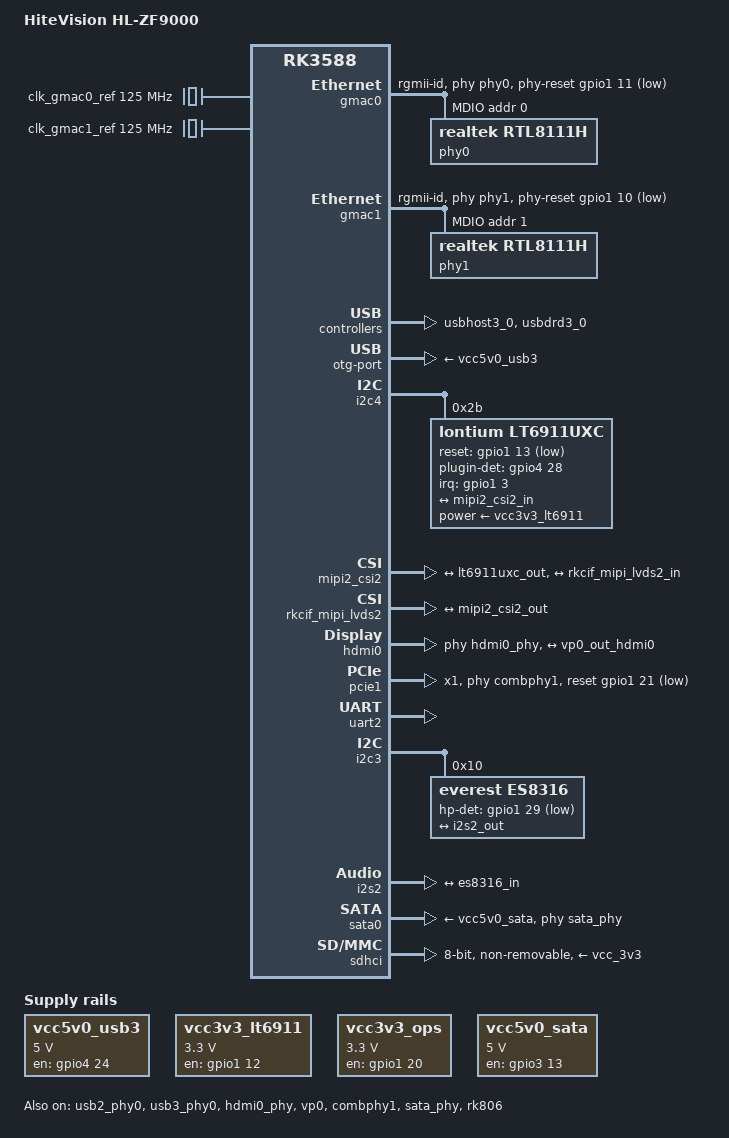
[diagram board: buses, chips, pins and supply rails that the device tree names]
/dts-v1/;
#include "rk3588.dtsi"
#include <dt-bindings/gpio/gpio.h>
#include <dt-bindings/clock/rk3588-cru.h>
#include <dt-bindings/power/rk3588-power.h>

/ {
	model = "HiteVision HL-ZF9000";
	compatible = "hitevision,hl-zf9000", "rockchip,rk3588";
	interrupt-parent = <&gic>;
	#address-cells = <2>;
	#size-cells = <2>;

	aliases {
		gpio0 = &gpio0;
		gpio1 = &gpio1;
		gpio2 = &gpio2;
		gpio3 = &gpio3;
		gpio4 = &gpio4;
		ethernet0 = &gmac0;
		ethernet1 = &gmac1;
		serial0 = &uart2;
		hdmi-in = &lt6911uxc;
		hdmi-out = &hdmi0;
	};

	chosen {
		stdout-path = "serial2:115200n8";
	};

	clocks {
		clk_gmac0_ref: clk-gmac0-ref {
			compatible = "fixed-clock";
			clock-frequency = <125000000>;
			clock-output-names = "clk_gmac0_ref";
		};
		clk_gmac1_ref: clk-gmac1-ref {
			compatible = "fixed-clock";
			clock-frequency = <125000000>;
			clock-output-names = "clk_gmac1_ref";
		};
	};

	regulators {
		vcc5v0_usb3: vcc5v0-usb3-regulator {
			compatible = "regulator-fixed";
			regulator-name = "vcc5v0_usb3";
			regulator-min-microvolt = <5000000>;
			regulator-max-microvolt = <5000000>;
			gpio = <&gpio4 24 0>; /* gpio-152 */
			enable-active-high;
		};

		vcc3v3_lt6911: vcc3v3-lt6911-regulator {
			compatible = "regulator-fixed";
			regulator-name = "vcc3v3_lt6911";
			regulator-min-microvolt = <3300000>;
			regulator-max-microvolt = <3300000>;
			gpio = <&gpio1 12 0>; /* gpio-44 */
			enable-active-high;
		};

		vcc3v3_ops: vcc3v3-ops-regulator {
			compatible = "regulator-fixed";
			regulator-name = "vcc3v3_ops";
			regulator-min-microvolt = <3300000>;
			regulator-max-microvolt = <3300000>;
			gpio = <&gpio1 20 0>; /* gpio-52 */
			enable-active-high;
		};

		vcc5v0_sata: vcc5v0-sata-regulator {
			compatible = "regulator-fixed";
			regulator-name = "vcc5v0_sata";
			regulator-min-microvolt = <5000000>;
			regulator-max-microvolt = <5000000>;
			gpio = <&gpio3 13 0>; /* gpio-109 */
			enable-active-high;
		};
	};

	sound {
		compatible = "simple-audio-card";
		simple-audio-card,name = "es8316-audio";
		simple-audio-card,format = "i2s";
		simple-audio-card,bitclock-master = <&codec_dai>;
		simple-audio-card,frame-master = <&codec_dai>;

		simple-audio-card,cpu {
			sound-dai = <&i2s2>;
		};

		codec_dai: simple-audio-card,codec {
			sound-dai = <&es8316>;
		};
	};
};

&gmac0 {
	status = "okay";
	compatible = "rockchip,rk3588-gmac", "snps,dwmac-4.20a";
	reg = <0x0 0xfe1b0000 0x0 0x10000>;
	interrupts = <GIC_SPI 233 IRQ_TYPE_LEVEL_HIGH>,
		     <GIC_SPI 234 IRQ_TYPE_LEVEL_HIGH>;
	interrupt-names = "macirq", "eth_wake_irq";
	rockchip,grf = <&sys_grf>;
	rockchip,php_grf = <&php_grf>;
	clocks = <&cru SCLK_GMAC0>, <&cru SCLK_GMAC0_RX>,
		 <&cru SCLK_GMAC0_TX>, <&clk_gmac0_ref>,
		 <&cru ACLK_GMAC0>;
	clock-names = "stmmaceth", "clk_mac_ref", "clk_mac_ref",
		      "clk_gmac_ref", "aclk_mac";
	resets = <&cru RST_GMAC0>;
	reset-names = "stmmaceth";
	power-domains = <&power RK3588_PD_GMAC>;

	snps,mixed-burst;
	snps,tso;
	snps,axi-config = <&gmac0_axi_config>;
	phy-mode = "rgmii-id";
	phy-handle = <&phy0>;
	phy-reset-gpios = <&gpio1 11 GPIO_ACTIVE_LOW>; /* gpio-43 */
	phy-reset-duration = <200>;

	mdio {
		#address-cells = <1>;
		#size-cells = <0>;

		phy0: ethernet-phy@0 {
			reg = <0x0>;
			compatible = "realtek,rtl8111h", "ethernet-phy-ieee802.3-c22";
			realtek,clkout-disable;
		};
	};

	gmac0_axi_config: stmmac-axi-config {
		snps,wr_osr_lmt = <0x4>;
		snps,rd_osr_lmt = <0x8>;
		snps,blen = <0 0 0 0 16 8 4>;
	};
};

&gmac1 {
	status = "okay";
	compatible = "rockchip,rk3588-gmac", "snps,dwmac-4.20a";
	reg = <0x0 0xfe1c0000 0x0 0x10000>;
	interrupts = <GIC_SPI 235 IRQ_TYPE_LEVEL_HIGH>,
		     <GIC_SPI 236 IRQ_TYPE_LEVEL_HIGH>;
	interrupt-names = "macirq", "eth_wake_irq";
	rockchip,grf = <&sys_grf>;
	rockchip,php_grf = <&php_grf>;
	clocks = <&cru SCLK_GMAC1>, <&cru SCLK_GMAC1_RX>,
		 <&cru SCLK_GMAC1_TX>, <&clk_gmac1_ref>,
		 <&cru ACLK_GMAC1>;
	clock-names = "stmmaceth", "clk_mac_ref", "clk_mac_ref",
		      "clk_gmac_ref", "aclk_mac";
	resets = <&cru RST_GMAC1>;
	reset-names = "stmmaceth";
	power-domains = <&power RK3588_PD_GMAC>;

	snps,mixed-burst;
	snps,tso;
	snps,axi-config = <&gmac1_axi_config>;
	phy-mode = "rgmii-id";
	phy-handle = <&phy1>;
	phy-reset-gpios = <&gpio1 10 GPIO_ACTIVE_LOW>;
	phy-reset-duration = <200>;

	mdio {
		#address-cells = <1>;
		#size-cells = <0>;

		phy1: ethernet-phy@1 {
			reg = <0x1>;
			compatible = "realtek,rtl8111h", "ethernet-phy-ieee802.3-c22";
			realtek,clkout-disable;
		};
	};

	gmac1_axi_config: stmmac-axi-config {
		snps,wr_osr_lmt = <0x4>;
		snps,rd_osr_lmt = <0x8>;
		snps,blen = <0 0 0 0 16 8 4>;
	};
};

&usbhost3_0 {
	status = "okay";
	compatible = "rockchip,rk3588-dwc3", "rockchip,rk3399-dwc3";
	clocks = <&cru SCLK_USB3_HOST0_REF>, <&cru SCLK_USB3_HOST0_SUSPEND>,
		 <&cru ACLK_USB3_HOST0>, <&cru SCLK_USB3_HOST0_UTMI>,
		 <&cru SCLK_USB3_HOST0_PHP>, <&cru SCLK_USB3_HOST0_PIPE>;
	clock-names = "ref", "suspend", "bus", "utmi", "php", "pipe";
	#address-cells = <2>;
	#size-cells = <2>;
	ranges;

	usb@fcd00000 {
		compatible = "snps,dwc3";
		reg = <0x0 0xfcd00000 0x0 0x400000>;
		interrupts = <GIC_SPI 222 IRQ_TYPE_LEVEL_HIGH>;
		resets = <&cru RST_USB3_HOST0>;
		reset-names = "usb3-host";
		dr_mode = "host";
		phys = <&usb3_phy0>;
		phy-names = "usb3-phy";
		phy_type = "utmi_wide";
		vbus-supply = <&vcc5v0_usb3>;
		snps,dis_enblslpm_quirk;
		snps,dis-u2-freeclk-exists-quirk;
	};
};

&usbdrd3_0 {
	status = "okay";
	compatible = "rockchip,rk3588-dwc3", "rockchip,rk3399-dwc3";
	clocks = <&cru SCLK_USB3_OTG_REF>, <&cru SCLK_USB3_OTG_SUSPEND>,
		 <&cru ACLK_USB3_OTG>;
	clock-names = "ref", "suspend", "bus";
	#address-cells = <2>;
	#size-cells = <2>;
	ranges;

	usb@fc000000 {
		compatible = "snps,dwc3";
		reg = <0x0 0xfc000000 0x0 0x400000>;
		interrupts = <GIC_SPI 220 IRQ_TYPE_LEVEL_HIGH>;
		power-domains = <&power RK3588_PD_USB>;
		resets = <&cru RST_USB3_OTG>;
		reset-names = "usb3-otg";
		dr_mode = "otg";
		phys = <&usb2_phy0>, <&usb3_phy0>;
		phy-names = "usb2-phy", "usb3-phy";
		phy_type = "utmi_wide";
		otg-switch-gpios = <&gpio0 15 GPIO_ACTIVE_LOW>; /* gpio-15 */
		extcon = <&usb2_phy0>;
		vbus-supply = <&vcc5v0_usb3>;
	};
};

&usb2_phy0 {
	status = "okay";
	vbus-supply = <&vcc5v0_usb3>;
	otg-port {
		#phy-cells = <0>;
		status = "okay";
		vbus-supply = <&vcc5v0_usb3>;
	};
};

&usb3_phy0 {
	status = "okay";
};

&i2c4 {
	status = "okay";
	lt6911uxc: hdmi-receiver@2b {
		compatible = "lontium,lt6911uxc";
		reg = <0x2b>;
		status = "okay";
		clocks = <&cru SCLK_HDMI_IN_XVCLK>;
		clock-names = "xvclk";
		power-supply = <&vcc3v3_lt6911>;
		reset-gpios = <&gpio1 13 GPIO_ACTIVE_LOW>;
		plugin-det-gpios = <&gpio4 28 0>; /* gpio-156 */
		interrupt-parent = <&gpio1>;
		interrupts = <3 IRQ_TYPE_LEVEL_HIGH>;

		port {
			lt6911uxc_out: endpoint {
				remote-endpoint = <&mipi2_csi2_in>;
				data-lanes = <1 2 3 4>;
			};
		};
	};
};

&mipi2_csi2 {
	status = "okay";
	ports {
		port@0 {
			reg = <0>;
			mipi2_csi2_in: endpoint@1 {
				reg = <1>;
				remote-endpoint = <&lt6911uxc_out>;
			};
		};
		port@1 {
			reg = <1>;
			endpoint@0 {
				reg = <0>;
				remote-endpoint = <&rkcif_mipi_lvds2_in>;
			};
		};
	};
};

&rkcif_mipi_lvds2 {
	status = "okay";
	port {
		rkcif_mipi_lvds2_in: endpoint {
			remote-endpoint = <&mipi2_csi2_out>;
		};
	};
};

&hdmi0 {
	status = "okay";
	compatible = "rockchip,rk3588-dw-hdmi";
	reg = <0x0 0xfde80000 0x0 0x20000>;
	interrupts = <GIC_SPI 169 IRQ_TYPE_LEVEL_HIGH>,
		     <GIC_SPI 170 IRQ_TYPE_LEVEL_HIGH>,
		     <GIC_SPI 171 IRQ_TYPE_LEVEL_HIGH>,
		     <GIC_SPI 172 IRQ_TYPE_LEVEL_HIGH>,
		     <GIC_SPI 360 IRQ_TYPE_LEVEL_HIGH>;
	clocks = <&cru PCLK_HDMI0>, <&cru SCLK_HDMI0_HPD>,
		 <&cru SCLK_HDMI0_EARC>, <&cru SCLK_HDMI0_TX_REF>,
		 <&i2s2>, <&cru DCLK_VP0>, <&cru DCLK_VP1>,
		 <&cru DCLK_VP2>, <&cru DCLK_VP3>, <&hclk_vo1>,
		 <&hdmi0_link_clk>;
	clock-names = "pclk", "hpd", "earc", "hdmitx_ref", "aud",
		      "dclk_vp0", "dclk_vp1", "dclk_vp2", "dclk_vp3",
		      "hclk_vo1", "link_clk";
	resets = <&cru RST_HDMI0_REF>, <&cru RST_HDMI0_HDP>;
	reset-names = "ref", "hdp";
	power-domains = <&power RK3588_PD_HDMI0>;
	pinctrl-names = "default";
	pinctrl-0 = <&hdmi0_pins>;
	reg-io-width = <4>;
	rockchip,grf = <&sys_grf>;
	rockchip,vo1_grf = <&vo1_grf>;
	phys = <&hdmi0_phy>;
	phy-names = "hdmi";
	#sound-dai-cells = <0>;

	ports {
		port@0 {
			reg = <0>;
			endpoint@0 {
				reg = <0>;
				remote-endpoint = <&vp0_out_hdmi0>;
				status = "okay";
			};
		};
	};
};

&hdmi0_phy {
	status = "okay";
};

&vp0 {
	status = "okay";
	port {
		vp0_out_hdmi0: endpoint {
			remote-endpoint = <&hdmi0_in>;
		};
	};
};

&pcie1 {
	status = "okay";
	compatible = "rockchip,rk3588-pcie", "snps,dw-pcie";
	#address-cells = <3>;
	#size-cells = <2>;
	bus-range = <0x40 0x4f>;
	clocks = <&cru ACLK_PCIE1_MST>, <&cru ACLK_PCIE1_SLV>,
		 <&cru ACLK_PCIE1_DBI>, <&cru PCLK_PCIE1>,
		 <&cru SCLK_PCIE1_AUX>, <&cru SCLK_PCIE1_PIPE>;
	clock-names = "aclk_mst", "aclk_slv", "aclk_dbi", "pclk",
		      "aux", "pipe";
	device_type = "pci";
	interrupts = <GIC_SPI 253 IRQ_TYPE_LEVEL_HIGH>,
		     <GIC_SPI 252 IRQ_TYPE_LEVEL_HIGH>,
		     <GIC_SPI 251 IRQ_TYPE_LEVEL_HIGH>,
		     <GIC_SPI 250 IRQ_TYPE_LEVEL_HIGH>,
		     <GIC_SPI 249 IRQ_TYPE_LEVEL_HIGH>;
	interrupt-names = "sys", "pmc", "msg", "legacy", "err";
	#interrupt-cells = <1>;
	interrupt-map-mask = <0 0 0 7>;
	interrupt-map = <0 0 0 1 &pcie1_intc 0>,
			<0 0 0 2 &pcie1_intc 1>,
			<0 0 0 3 &pcie1_intc 2>,
			<0 0 0 4 &pcie1_intc 3>;
	linux,pci-domain = <0x4>;
	num-ib-windows = <8>;
	num-ob-windows = <8>;
	num-viewport = <4>;
	max-link-speed = <2>;
	msi-map = <0x4000 &its 0x4000 0x1000>;
	num-lanes = <1>;
	phys = <&combphy1 0x2>;
	phy-names = "pcie-phy";
	ranges = <0x800 0x0 0xf4000000 0x0 0xf4000000 0x0 0x100000>,
		 <0x81000000 0x0 0xf4100000 0x0 0xf4100000 0x0 0x100000>,
		 <0x82000000 0x0 0xf4200000 0x0 0xf4200000 0x0 0xe00000>,
		 <0xc3000000 0x9 0x0 0x9 0x0 0x0 0x40000000>;
	reg = <0x0 0xfe190000 0x0 0x10000>,
	      <0x9 0x41000000 0x0 0x400000>;
	reg-names = "pcie-apb", "pcie-dbi";
	resets = <&cru RST_PCIE1>, <&cru RST_PCIE1_PERIPH>;
	reset-names = "pcie", "periph";
	rockchip,pipe-grf = <&pipe_grf>;
	power-supply = <&vcc3v3_ops>;
	reset-gpios = <&gpio1 21 GPIO_ACTIVE_LOW>;

	pcie1_intc: legacy-interrupt-controller {
		interrupt-controller;
		#address-cells = <0>;
		#interrupt-cells = <1>;
		interrupt-parent = <&gic>;
		interrupts = <GIC_SPI 250 IRQ_TYPE_LEVEL_HIGH>;
	};
};

&combphy1 {
	status = "okay";
	compatible = "rockchip,rk3588-naneng-combphy";
	reg = <0x0 0xfee20000 0x0 0x100>;
	#phy-cells = <1>;
	clocks = <&cru SCLK_COMBPHY1_REF>, <&cru ACLK_COMBPHY1_APB>,
		 <&cru PCLK_PHP>;
	clock-names = "refclk", "apbclk", "phpclk";
	assigned-clocks = <&cru SCLK_COMBPHY1_REF>;
	assigned-clock-rates = <100000000>;
	resets = <&cru RST_COMBPHY1_APB>, <&cru RST_COMBPHY1>;
	reset-names = "combphy-apb", "combphy";
	rockchip,pipe-grf = <&pipe_grf>;
	rockchip,pipe-phy-grf = <&pipe_phy_grf1>;
};

&uart2 {
	status = "okay";
	compatible = "rockchip,rk3588-uart", "snps,dw-apb-uart";
	reg = <0x0 0xfeb50000 0x0 0x100>;
	interrupts = <GIC_SPI 333 IRQ_TYPE_LEVEL_HIGH>;
	clocks = <&cru SCLK_UART2>, <&cru PCLK_UART2>;
	clock-names = "baudclk", "apb_pclk";
	reg-shift = <2>;
	reg-io-width = <4>;
	dmas = <&dma0 10 0>, <&dma0 11 0>;
	dma-names = "tx", "rx";
	pinctrl-names = "default";
	pinctrl-0 = <&uart2_m0_xfer>;
	uart-has-rtscts;
};

&i2c3 {
	status = "okay";
	es8316: audio-codec@10 {
		status = "okay";
		compatible = "everest,es8316";
		reg = <0x10>;
		clocks = <&cru SCLK_I2S2_MCLK>;
		clock-names = "mclk";
		assigned-clocks = <&cru SCLK_I2S2_MCLK>;
		assigned-clock-rates = <11289600>;
		pinctrl-names = "default";
		pinctrl-0 = <&i2s2_mclk>;
		hp-det-gpios = <&gpio1 29 GPIO_ACTIVE_LOW>; /* gpio-61 */

		port {
			es8316_in: endpoint {
				remote-endpoint = <&i2s2_out>;
			};
		};
	};
};

&i2s2 {
	status = "okay";
	compatible = "rockchip,rk3588-i2s-tdm";
	reg = <0x0 0xfddf0000 0x0 0x1000>;
	interrupts = <GIC_SPI 185 IRQ_TYPE_LEVEL_HIGH>;
	clocks = <&cru SCLK_I2S2_TX_MCLK>, <&cru SCLK_I2S2_RX_MCLK>,
		 <&cru PCLK_I2S2>;
	clock-names = "mclk_tx", "mclk_rx", "hclk";
	assigned-clocks = <&cru SCLK_I2S2_TX_MCLK>;
	assigned-clock-parents = <&cru CLK_PLL_AUDIO>;
	dmas = <&dma1 2 0>;
	dma-names = "tx";
	power-domains = <&power RK3588_PD_AUDIO>;
	resets = <&cru RST_I2S2_TX>;
	reset-names = "tx-m";
	rockchip,always-on;
	rockchip,hdmi-path;
	rockchip,playback-only;
	#sound-dai-cells = <0>;

	port {
		i2s2_out: endpoint {
			remote-endpoint = <&es8316_in>;
		};
	};
};

&sata0 {
	status = "okay";
	compatible = "rockchip,rk-ahci", "snps,dwc-ahci";
	reg = <0x0 0xfe210000 0x0 0x1000>;
	interrupts = <GIC_SPI 240 IRQ_TYPE_LEVEL_HIGH>;
	clocks = <&cru ACLK_SATA>, <&cru SCLK_SATA_REF>,
		 <&cru SCLK_SATA_PHY>;
	clock-names = "aclk", "sclk_ref", "sclk_phy";
	resets = <&cru RST_SATA_AXI>, <&cru RST_SATA_PHY>,
		 <&cru RST_SATA>;
	reset-names = "axi", "phy", "controller";
	power-domains = <&power RK3588_PD_SATA>;
	phys = <&sata_phy>;
	phy-names = "sata-phy";
	vbus-supply = <&vcc5v0_sata>;
};

&sata_phy {
	status = "okay";
	compatible = "rockchip,rk3588-sata-phy";
	reg = <0x0 0xfe220000 0x0 0x1000>;
	clocks = <&cru SCLK_SATA_PHY>, <&cru SCLK_SATA_REF>;
	clock-names = "phy", "ref";
	resets = <&cru RST_SATA_PHY>;
	reset-names = "phy";
	rockchip,phy-type = "sata";
};

&sdhci {
	status = "okay";
	bus-width = <8>;
	max-frequency = <200000000>;
	non-removable;
	cap-mmc-highspeed;
	mmc-ddr-1_8v;
	mmc-hs200-1_8v;
	vmmc-supply = <&vcc_3v3>;
	vqmmc-supply = <&vccio_sd>;
	pinctrl-names = "default";
	pinctrl-0 = <&emmc_bus8 &emmc_clk &emmc_cmd>;
};

&rk806 {
	status = "okay";
	reg = <0x1b>;
	interrupt-parent = <&gpio0>;
	interrupts = <12 IRQ_TYPE_LEVEL_LOW>;
	pinctrl-names = "default";
	pinctrl-0 = <&pmic_int_l>;
};
